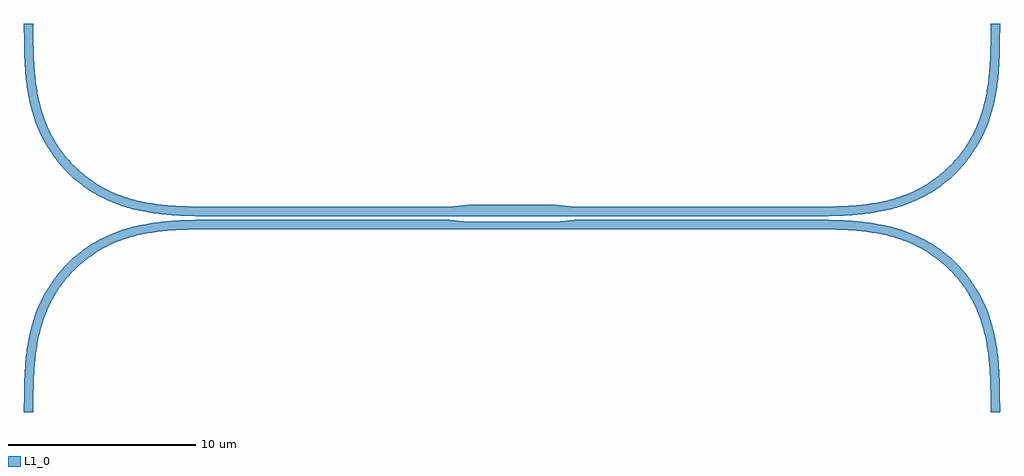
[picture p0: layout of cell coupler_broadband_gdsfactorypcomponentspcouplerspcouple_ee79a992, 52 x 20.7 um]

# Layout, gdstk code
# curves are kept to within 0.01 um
from math import pi, radians
import gdstk
lib = gdstk.Library(unit=1e-6, precision=1e-09)
def R(c, l, rs):  # rectangles x0, y0, x1, y1
    for r in rs: c.add(gdstk.rectangle(r[:2], r[2:], *l))
def P(c, l, *ps):  # polygons
    for p in ps: c.add(gdstk.Polygon(p, *l))
L1_0 = (1, 0)

straight_gdsfactorypcomp = lib.new_cell('straight_gdsfactorypcomponentspwaveguidespstraight_L12p_ad93d72a')
R(straight_gdsfactorypcomp, L1_0, [(0,-0.25,12.4,0.25)])

coupler_straight_gdsfact = lib.new_cell('coupler_straight_gdsfactorypcomponentspcouplerspcoupler_18868fc8')
coupler_straight_gdsfact.add(gdstk.Reference(straight_gdsfactorypcomp, (0,0.7)))
coupler_straight_gdsfact.add(gdstk.Reference(straight_gdsfactorypcomp, (0,0)))

bend_euler_gdsfactorypco = lib.new_cell('bend_euler_gdsfactorypcomponentspbendspbend_euler_R10_A_a86bc407')
P(bend_euler_gdsfactorypco, L1_0, [(0,-0.25),(0,0.25),(1.655,0.269),(2.338,0.305),(2.881,0.353),(3.42,0.424),(3.952,0.52),(4.477,0.647),(4.99,0.806),(5.365,0.949),(5.731,1.113),(6.087,1.299),(6.431,1.505),(6.762,1.731),(7.079,1.976),(7.575,2.425),(8.024,2.921),(8.269,3.238),(8.495,3.569),(8.701,3.913),(8.887,4.269),(9.051,4.635),(9.194,5.01),(9.353,5.523),(9.48,6.048),(9.576,6.58),(9.647,7.119),(9.695,7.662),(9.731,8.345),(9.75,10),(10.25,10),(10.235,8.468),(10.203,7.767),(10.158,7.205),(10.091,6.644),(10.023,6.224),(9.907,5.668),(9.797,5.254),(9.618,4.711),(9.457,4.312),(9.273,3.922),(9.066,3.545),(8.756,3.061),(8.5,2.715),(8.224,2.385),(7.928,2.072),(7.615,1.776),(7.285,1.5),(6.939,1.244),(6.455,0.934),(6.078,0.727),(5.688,0.543),(5.289,0.382),(4.746,0.203),(4.332,0.093),(3.776,-0.023),(3.356,-0.091),(2.795,-0.158),(2.233,-0.203),(1.532,-0.235)])

coupler_broadband_gdsfac = lib.new_cell('coupler_broadband_gdsfactorypcomponentspcouplerspcouple_ee79a992')
P(coupler_broadband_gdsfac, L1_0, [(-3.35,0),(-3.35,0.5),(-3.35,0.5),(-2.35,0.6),(2.35,0.6),(3.35,0.5),(3.35,0.5),(3.35,0)],
  [(-3.35,-0.7),(-3.35,-0.2),(-3.35,-0.2),(-2.35,-0.3),(2.35,-0.3),(3.35,-0.2),(3.35,-0.2),(3.35,-0.7)])
coupler_broadband_gdsfac.add(gdstk.Reference(coupler_straight_gdsfact, (-15.75,-0.45)))
coupler_broadband_gdsfac.add(gdstk.Reference(bend_euler_gdsfactorypco, (-15.75,0.25), rotation=pi, x_reflection=True))
coupler_broadband_gdsfac.add(gdstk.Reference(bend_euler_gdsfactorypco, (-15.75,-0.45), rotation=pi))
coupler_broadband_gdsfac.add(gdstk.Reference(coupler_straight_gdsfact, (3.35,-0.45)))
coupler_broadband_gdsfac.add(gdstk.Reference(bend_euler_gdsfactorypco, (15.75,-0.45), x_reflection=True))
coupler_broadband_gdsfac.add(gdstk.Reference(bend_euler_gdsfactorypco, (15.75,0.25)))

lib.write_gds('coupler_broadband_gdsfactorypcomponentspcouplerspcouple_ee79a992.gds')
